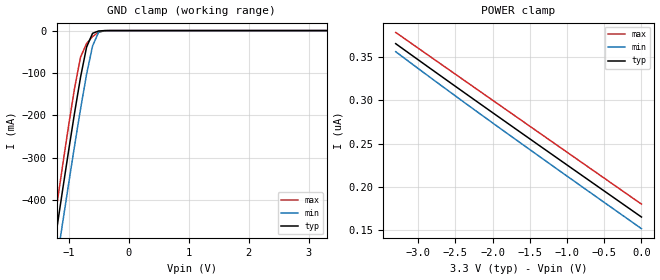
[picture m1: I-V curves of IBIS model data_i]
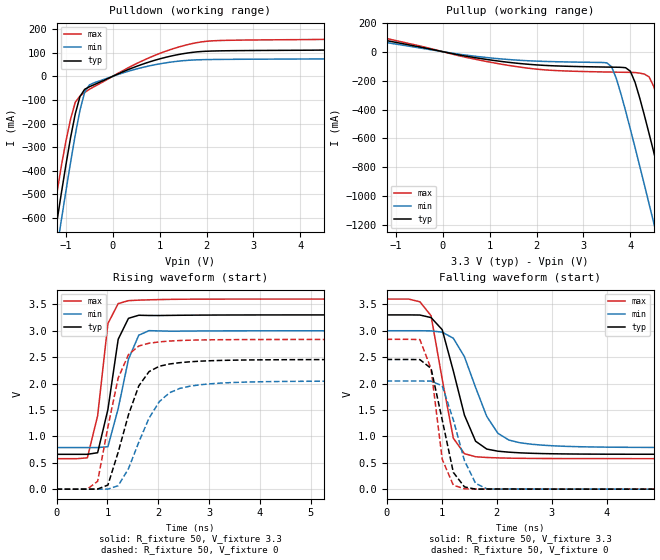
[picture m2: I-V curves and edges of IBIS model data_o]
|   Fairchild Semiconductor Corporation
|   IBIS Model of alvc00
|   Low Voltage Quad 2-Input NAND Gate with
|   3.6V Tolerant Inputs and Outputs
|   SOIC 14-lead Package Type
[IBIS Ver]   3.2
[Comment Char]   |_char
[File name]   alvc00m_300.ibs
[File Rev]   1.0
[Date]   10/17/01
[Source]
SPICE to IBIS Translation
[Notes]
Created by Tim Coyle
[Disclaimer]
Fairchild Semiconductor Corporation hereby grants
the user of this IBIS model a non-exclusive, nontransferable
license to use this IBIS model under the following terms.
Before using this IBIS model, the user should read this
license.  If the user does not accept these terms,  the
IBIS model should be returned to Fairchild within 30 days.
     The user is granted this license only to use the
IBIS model and is not granted rights to sell, load, rent,
lease or license the IBIS model in whole or in part, or in
modified form to anyone other than user. User may modify
the IBIS model to suit its specific applications but rights
to derivative works and such modifications shall belong to
Fairchild.
     This IBIS model is provided on an "AS IS" basis and
Fairchild makes absolutely no warranty with respect to the
information contained herein. Fairchild DISCLAIMS AND CUSTOMER
WAIVES ALL WARRANTIES, EXPRESS OR IMPLIED, INCLUDING
WARRANTIES OF MERCHANTABILITY OR FITNESS FOR A PARTICULAR
PURPOSE. The entire risk as to quality and performance is
with the Customer. ACCORDINGLY, IN NO EVENT SHALL THE
COMPANY BE LIABLE FOR ANY DAMAGES, WHETHER IN CONTRF OR
TORT, INCLUDING ANY LOST PROFITS OR OTHER INCIDENTAL,
CONSEQUENTIAL, EXEMPLARY, OR PUNITIVE DAMAGES ARISING OUT
OF THE USE OR APPLICATION OF THE IBIS model provided in
this package. Further, Fairchild reserves the right to make
changes without notice to any product herein to improve
reliability, function, or design. Fairchild does not convey
any license under patent rights or any other intellectual
property rights, including those of third parties.
Fairchild is not obligated to provide maintenance or support
for the licensed IBIS model.
ContF Fairchild at ATTN:LOGIC APPLICATIONS/IBIS MODEF.
333 Western Avenue, M/S 10-26, South Portland, ME 04106
IBIS Open Forum disclaims all warranties. See
DISCLAIM.TXT in vhdl.org:/pub/IBIS/modeF for
the full disclaimer.
[Copyright]
(c) Copyright 2001 Fairchild Semiconductor Corp.
[Component]   alvc00m
Si_location Pin
Timing_location Pin
[Manufacturer]   Fairchild Semiconductor Corp.
[Package]
R_pkg   101m   81m   131m
L_pkg   3.37n   2.56n   3.89n
C_pkg   0.08p   0.06p   0.10p
[Pin] signal_name   model_name   R_pin   L_pin   C_pin
1   a0   data_i   101m   3.89n   0.15p
2   b0   data_i   81m   3.37n   0.08p
3   o0   data_o   81m   2.56n   0.07p
4   a1   data_i   81m   2.57n   0.07p
5   b1   data_i   81m   2.56n   0.08p
6   o1   data_o   101m   3.37n   0.10p
7   gnd   GND   101m   3.88n   0.10p
8   o3   data_o   101m   3.89n   0.10p
9   b3   data_i   101m   3.37n   0.10p
10   a3   data_i   81m   2.56n   0.08p
11   o2   data_o   81m   2.57n   0.06p
12   b2   data_i   81m   2.56n   0.08p
13   a2   data_i   81m   3.37n   0.10p
14   vcc   POWER   131m   3.88n   0.10p
| Models and submodels in the file (2): data_i (Input), data_o (Output)
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[Model]   data_i
Model_type Input
Vinh=2.0
Vinl=.8
C_comp   6p   NA   NA
[Temperature Range] 25   85   -40
[Voltage Range]   3.3   3.0   3.6
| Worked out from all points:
|   GND clamp passes 1 mA (typ) near -0.50 V on its own axis
[GND Clamp]
-3.3V     -2.552A    -2.591A    -2.615A
-1.3V     -567mA     -643.2mA   -515.1mA
-1.2V     -471.6mA   -548.8mA   -416.6mA
-1.1V     -377.2mA   -455.1mA   -319.6mA
-1V       -284.5mA   -362.7mA   -225.2mA
-900mV    -194.5mA   -272.2mA   -135.9mA
-800mV    -109.8mA   -184.7mA   -62.65mA
-700mV    -39.14mA   -103.2mA   -30.55mA
-600mV    -6.44mA    -36.17mA   -14.17mA
-500mV    -947.5uA   -4.139mA   -3.641mA
-400mV    -82.85uA   -204.7uA   -299.2uA
3.3V      165.1nA    169.9nA    162nA
[POWER Clamp]
-3.3V     365.4nA    356.1nA    378.4nA
-2.6V     322.3nA    311.4nA    336.2nA
-1.9V     279.7nA    267.7nA    294.1nA
0V        165.1nA    151.7nA    180nA
[Model]   data_o
Model_type Output
Polarity Inverting
Vmeas=1.65
C_comp   7p   NA   NA
[Temperature Range] 25   85   -40
[Voltage Range]   3.3   3.0   3.6
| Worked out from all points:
|   slope of the pulldown table from 0 to 0.495 V, typ, clamps not added: 12 ohm
|   slope of the pullup table from 0 to 0.495 V, typ, clamps not added: 16 ohm
|   falling waveform, R_fixture 50, V_fixture 3.3: 20-80 % time 427ps typ, 527ps min, 316ps max; typ from 3.3 V to 0.66 V
|   falling waveform, R_fixture 50, V_fixture 0: 20-80 % time 302ps typ, 365ps min, 201ps max; typ from 2.46 V to 0 V
|   rising waveform, R_fixture 50, V_fixture 3.3: 20-80 % time 271ps typ, 328ps min, 239ps max; typ from 0.66 V to 3.3 V
|   rising waveform, R_fixture 50, V_fixture 0: 20-80 % time 480ps typ, 585ps min, 397ps max; typ from 0 V to 2.46 V
[Pullup]
-3.3V     102.9mA    79.06mA    125.8mA
-2.1V     122.4mA    97.53mA    148.8mA
1.4V      -73.35mA   -54.16mA   -94.6mA
3.5V      -106.4mA   -77.27mA   -140.5mA
3.7V      -107.4mA   -183.8mA   -141.6mA
4V        -134.7mA   -534.4mA   -143.1mA
4.3V      -440.1mA   -921mA     -154.9mA
4.5V      -694.6mA   -1.184A    -241mA
4.9V      -1.222A    -1.718A    -722.8mA
5.2V      -1.624A    -2.121A    -1.12A
5.3V      -1.758A    -2.256A    -1.254A
6.6V      -3.521A    -4.018A    -3.016A
[Pulldown]
-3.3V     -3.426A    -3.536A    -3.309A
-1.3V     -753.4mA   -868.7mA   -631.5mA
-1.2V     -624.7mA   -739.6mA   -504.4mA
-1.1V     -498.1mA   -611.9mA   -382.6mA
-900mV    -258.9mA   -363.9mA   -181.1mA
-800mV    -159mA     -247.5mA   -109.7mA
-700mV    -85.61mA   -143.5mA   -83.73mA
-600mV    -55.21mA   -67.64mA   -68.47mA
-400mV    -35.76mA   -27.7mA    -44.06mA
1.8V      103.3mA    69.56mA    142.5mA
5.3V      113.8mA    75.21mA    161.5mA
6.6V      136.3mA    87.32mA    201.8mA
[Ramp]
dV/dt_r   1.473E+0/4.689E-10   1.234E+0/5.823E-10   1.702E+0/3.712E-10
dV/dt_f   1.584E+0/3.803E-10   1.318E+0/5.321E-10   1.810E+0/2.252E-10
[Falling Waveform]
R_fixture=50
V_fixture=3.3
V_fixture_min=3.0
V_fixture_max=3.6
0s        3.3V       3V         3.6V
606.1ps   3.298V     3V         3.548V
808.1ps   3.249V     2.997V     3.284V
1.01ns    3.021V     2.973V     2.084V
1.212ns   2.238V     2.858V     964.3mV
1.414ns   1.4V       2.507V     671.1mV
1.616ns   907.3mV    1.925V     613.4mV
2.02ns    718.7mV    1.058V     591.8mV
3.03ns    669.5mV    820mV      579.6mV
20ns      659.9mV    787.7mV    577.6mV
[Falling Waveform]
R_fixture=50
V_fixture=0
0s        2.456V     2.048V     2.838V
606.1ps   2.453V     2.048V     2.832V
808.1ps   2.287V     2.046V     2.278V
1.01ns    1.313V     1.957V     566.1mV
1.212ns   317.2mV    1.312V     74.55mV
1.414ns   42.01mV    538.9mV    5.888mV
1.616ns   -3.235uV   109.1mV    1.228mV
1.818ns   846.8uV    6.296mV    1.713mV
2.02ns    1.809mV    -684.3uV   1.543mV
20ns      10.28uV    18.84uV    704.6nV
[Rising Waveform]
R_fixture=50
V_fixture=3.3
V_fixture_min=3.0
V_fixture_max=3.6
0s        659.9mV    787.7mV    577.6mV
606.1ps   659.9mV    787.7mV    592.8mV
808.1ps   690.5mV    787.9mV    1.392V
1.01ns    1.509V     804.3mV    3.136V
1.212ns   2.839V     1.525V     3.514V
1.414ns   3.235V     2.461V     3.57V
1.616ns   3.293V     2.915V     3.58V
1.818ns   3.289V     3.002V     3.585V
3.434ns   3.298V     2.998V     3.599V
20ns      3.3V       3V         3.6V
[Rising Waveform]
R_fixture=50
V_fixture=0
0s        3.38uV     3.901uV    3.022uV
808.1ps   2.628mV    44.01uV    149.4mV
1.01ns    77.97mV    1.017mV    1.178V
1.212ns   700.7mV    65.55mV    2.106V
1.414ns   1.409V     387.7mV    2.548V
1.616ns   1.954V     887.8mV    2.711V
1.818ns   2.226V     1.345V     2.764V
2.222ns   2.371V     1.827V     2.805V
3.434ns   2.442V     2.018V     2.832V
20ns      2.456V     2.048V     2.837V
